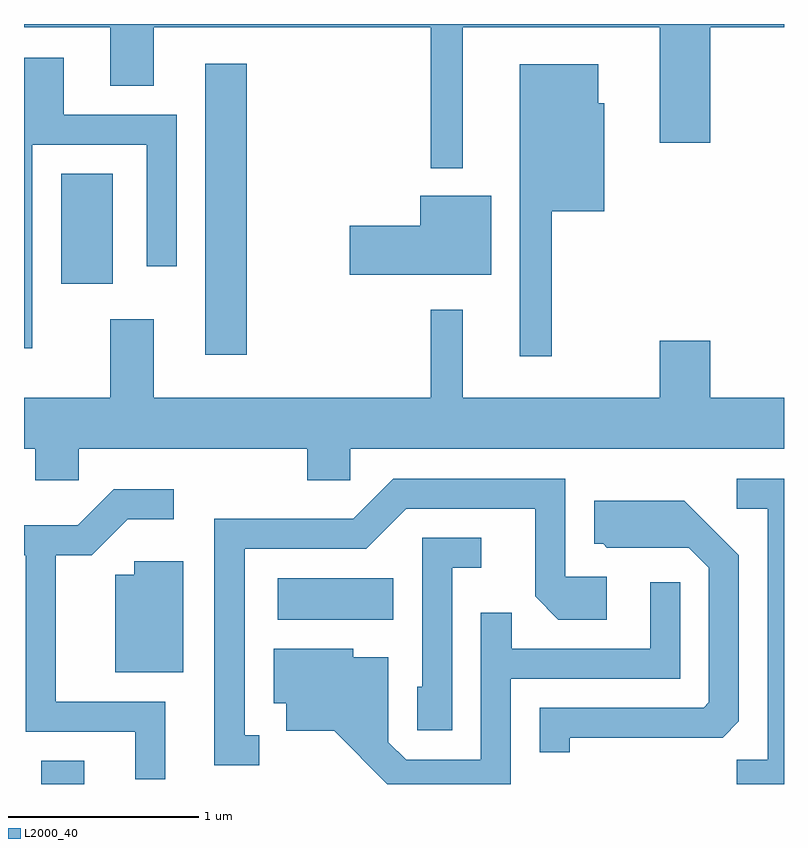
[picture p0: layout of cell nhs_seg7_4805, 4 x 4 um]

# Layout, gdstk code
import gdstk
lib = gdstk.Library(unit=1e-6, precision=1e-09)
def R(c, l, rs):  # rectangles x0, y0, x1, y1
    for r in rs: c.add(gdstk.rectangle(r[:2], r[2:], *l))
def P(c, l, *ps):  # polygons
    for p in ps: c.add(gdstk.Polygon(p, *l))
L2000_40 = (2000, 40)

nhs_seg7_4805 = lib.new_cell('nhs_seg7_4805')
R(nhs_seg7_4805, L2000_40, [(331.701,1790.252,331.929,1790.374), (332.946,1791.116,333.554,1791.334), (332.566,1792.511,332.784,1794.044), (331.806,1792.886,332.079,1793.464)])
P(nhs_seg7_4805, L2000_40, [(333.919,1794.236),(334.956,1794.236),(334.956,1793.626),(335.224,1793.626),(335.224,1794.236),(335.611,1794.236),(335.611,1794.252),(331.611,1794.252),(331.611,1794.236),(332.066,1794.236),(332.066,1793.926),(332.294,1793.926),(332.294,1794.236),(333.751,1794.236),(333.751,1793.493),(333.919,1793.493)],
  [(331.654,1793.616),(332.256,1793.616),(332.256,1792.978),(332.414,1792.978),(332.414,1793.774),(331.819,1793.774),(331.819,1794.074),(331.611,1794.074),(331.611,1792.546),(331.654,1792.546)],
  [(334.389,1793.266),(334.664,1793.266),(334.664,1793.834),(334.634,1793.834),(334.634,1794.039),(334.221,1794.039),(334.221,1792.503),(334.389,1792.503)],
  [(334.069,1793.349),(333.696,1793.349),(333.696,1793.189),(333.326,1793.189),(333.326,1792.931),(334.069,1792.931)],
  [(331.899,1792.016),(333.101,1792.016),(333.101,1791.851),(333.329,1791.851),(333.329,1792.016),(335.611,1792.016),(335.611,1792.284),(335.224,1792.284),(335.224,1792.584),(334.956,1792.584),(334.956,1792.284),(333.919,1792.284),(333.919,1792.748),(333.751,1792.748),(333.751,1792.284),(332.294,1792.284),(332.294,1792.699),(332.066,1792.699),(332.066,1792.284),(331.611,1792.284),(331.611,1792.016),(331.671,1792.016),(331.671,1791.851),(331.899,1791.851)],
  [(335.611,1791.859),(335.363,1791.859),(335.363,1791.701),(335.526,1791.701),(335.526,1790.379),(335.363,1790.379),(335.363,1790.252),(335.611,1790.252)],
  [(332.848,1790.509),(332.774,1790.509),(332.774,1791.491),(333.412,1791.491),(333.622,1791.701),(334.301,1791.701),(334.301,1791.239),(334.424,1791.116),(334.679,1791.116),(334.679,1791.344),(334.459,1791.344),(334.459,1791.859),(333.554,1791.859),(333.344,1791.649),(332.611,1791.649),(332.611,1790.351),(332.848,1790.351)],
  [(332.354,1790.684),(331.779,1790.684),(331.779,1791.456),(331.967,1791.456),(332.157,1791.646),(332.398,1791.646),(332.398,1791.804),(332.084,1791.804),(331.894,1791.614),(331.611,1791.614),(331.611,1791.456),(331.621,1791.456),(331.621,1790.526),(332.196,1790.526),(332.196,1790.278),(332.354,1790.278)],
  [(334.484,1790.496),(335.289,1790.496),(335.374,1790.582),(335.374,1791.457),(335.087,1791.744),(334.611,1791.744),(334.611,1791.516),(334.659,1791.516),(334.679,1791.496),(335.109,1791.496),(335.216,1791.389),(335.216,1790.682),(335.189,1790.654),(334.326,1790.654),(334.326,1790.418),(334.484,1790.418)],
  [(333.864,1791.391),(334.018,1791.391),(334.018,1791.549),(333.706,1791.549),(333.706,1790.764),(333.681,1790.764),(333.681,1790.536),(333.864,1790.536)],
  [(332.449,1791.424),(332.191,1791.424),(332.191,1791.354),(332.091,1791.354),(332.091,1790.841),(332.449,1790.841)],
  [(334.174,1790.806),(335.064,1790.806),(335.064,1791.313),(334.906,1791.313),(334.906,1790.964),(334.179,1790.964),(334.179,1791.153),(334.016,1791.153),(334.016,1790.379),(333.622,1790.379),(333.529,1790.472),(333.529,1790.919),(333.344,1790.919),(333.344,1790.964),(332.926,1790.964),(332.926,1790.676),(332.991,1790.676),(332.991,1790.531),(333.244,1790.531),(333.523,1790.252),(334.174,1790.252)])

lib.write_gds('nhs_seg7_4805.gds')
